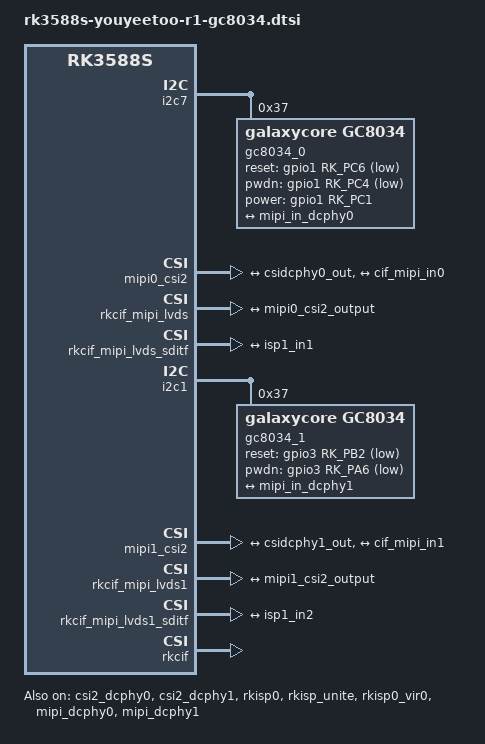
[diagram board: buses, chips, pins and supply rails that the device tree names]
#define CAM0  1
#define CAM1  1
#if CAM0
&i2c7 {
        status = "okay";
        pinctrl-names = "default";
        pinctrl-0 = <&i2c7m0_xfer>;

        gc8034_0: gc8034@37 {
                status = "okay";
        compatible = "galaxycore,gc8034";
        reg = <0x37>;
        clocks = <&cru CLK_MIPI_CAMARAOUT_M3>;
        clock-names = "xvclk";
        power-domains = <&power RK3588_PD_VI>;
        pinctrl-names = "default";
        pinctrl-0 = <&mipim0_camera3_clk &camera_ctl>;
        //avdd-supply = <&vcc_camera0>;
        rockchip,grf = <&sys_grf>;
        reset-gpios = <&gpio1 RK_PC6 GPIO_ACTIVE_LOW>;
        pwdn-gpios = <&gpio1 RK_PC4 GPIO_ACTIVE_LOW>;
        power-gpios = <&gpio1 RK_PC1 GPIO_ACTIVE_HIGH>;

        rockchip,camera-module-index = <0>;
        rockchip,camera-module-facing = "front";
        rockchip,camera-module-name = "RK-CMK-8M-2-v1";
        rockchip,camera-module-lens-name = "CK8401";
        //lens-focus = <&dw9714_0>;
        port {
            gc8034_0_out: endpoint {
                remote-endpoint = <&mipi_in_dcphy0>;
                data-lanes = <1 2 3 4>;
            };
        };
    };
};



&csi2_dcphy0 {
        status = "okay";

        ports {
                #address-cells = <1>;
                #size-cells = <0>;
                port@0 {
                        reg = <0>;
                        #address-cells = <1>;
                        #size-cells = <0>;

                        mipi_in_dcphy0: endpoint@1 {
                                reg = <1>;
                                remote-endpoint = <&gc8034_0_out>;
                                data-lanes = <1 2 3 4>;
                        };
                };
                port@1 {
                        reg = <1>;
                        #address-cells = <1>;
                        #size-cells = <0>;

                        csidcphy0_out: endpoint@0 {
                                reg = <0>;
                                remote-endpoint = <&mipi0_csi2_input>;
                        };
                };
        };
};

&mipi0_csi2 {
        status = "okay";

        ports {
                #address-cells = <1>;
                #size-cells = <0>;

                port@0 {
                        reg = <0>;
                        #address-cells = <1>;
                        #size-cells = <0>;

                        mipi0_csi2_input: endpoint@1 {
                                reg = <1>;
                                remote-endpoint = <&csidcphy0_out>;
                        };
                };

                port@1 {
                        reg = <1>;
                        #address-cells = <1>;
                        #size-cells = <0>;

                        mipi0_csi2_output: endpoint@0 {
                                reg = <0>;
                                remote-endpoint = <&cif_mipi_in0>;
                        };
                };
        };
};


&rkcif_mipi_lvds {
        status = "okay";

        port {
                cif_mipi_in0: endpoint {
                        remote-endpoint = <&mipi0_csi2_output>;
                };
        };
};

&rkcif_mipi_lvds_sditf {
        status = "okay";

        port {
                mipi_lvds_sditf: endpoint {
                        remote-endpoint = <&isp1_in1>;
                };
        };
};

#endif

#if CAM1
&i2c1 {
        status = "okay";
        pinctrl-names = "default";
        pinctrl-0 = <&i2c1m4_xfer>;

        gc8034_1: gc8034@37 {
                status = "okay";
        compatible = "galaxycore,gc8034";
        reg = <0x37>;
        clocks = <&cru CLK_MIPI_CAMARAOUT_M4>;
        clock-names = "xvclk";
        power-domains = <&power RK3588_PD_VI>;
        pinctrl-names = "default";
        pinctrl-0 = <&mipim0_camera4_clk>;
        //avdd-supply = <&vcc_camera1>;
        rockchip,grf = <&sys_grf>;
        reset-gpios = <&gpio3 RK_PB2 GPIO_ACTIVE_LOW>;
        pwdn-gpios = <&gpio3 RK_PA6 GPIO_ACTIVE_LOW>;
        rockchip,camera-module-index = <0>;
        rockchip,camera-module-facing = "back";
        rockchip,camera-module-name = "RK-CMK-8M-2-v1";
        rockchip,camera-module-lens-name = "CK8401";
        //lens-focus = <&dw9714_1>;
        port {
            gc8034_1_out: endpoint {
                remote-endpoint = <&mipi_in_dcphy1>;
                data-lanes = <1 2 3 4>;
            };
        };
    };
};



&csi2_dcphy1 {
        status = "okay";

        ports {
                #address-cells = <1>;
                #size-cells = <0>;
                port@0 {
                        reg = <0>;
                        #address-cells = <1>;
                        #size-cells = <0>;

                        mipi_in_dcphy1: endpoint@1 {
                                reg = <1>;
                                remote-endpoint = <&gc8034_1_out>;
                                data-lanes = <1 2 3 4>;
                        };
                };
                port@1 {
                        reg = <1>;
                        #address-cells = <1>;
                        #size-cells = <0>;

                        csidcphy1_out: endpoint@0 {
                                reg = <0>;
                                remote-endpoint = <&mipi1_csi2_input>;
                        };
                };
        };
};


&mipi1_csi2 {
        status = "okay";

        ports {
                #address-cells = <1>;
                #size-cells = <0>;

                port@0 {
                        reg = <0>;
                        #address-cells = <1>;
                        #size-cells = <0>;

                        mipi1_csi2_input: endpoint@1 {
                                reg = <1>;
                                remote-endpoint = <&csidcphy1_out>;
                        };
                };

                port@1 {
                        reg = <1>;
                        #address-cells = <1>;
                        #size-cells = <0>;

                        mipi1_csi2_output: endpoint@0 {
                                reg = <0>;
                                remote-endpoint = <&cif_mipi_in1>;
                        };
                };
        };
};

&rkcif_mipi_lvds1 {
        status = "okay";

        port {
                cif_mipi_in1: endpoint {
                        remote-endpoint = <&mipi1_csi2_output>;
                };
        };
};

&rkcif_mipi_lvds1_sditf {
        status = "okay";

        port {
                mipi1_lvds_sditf: endpoint {
                        remote-endpoint = <&isp1_in2>;
                };
        };
};




#endif




&rkcif {
        status = "okay";
};


&rkcif_mmu {
        status = "okay";
};

&rkisp0 {
 status = "okay";
};


&isp0_mmu {
 status = "okay";
};


&rkisp_unite {
        status = "okay";

};

&rkisp_unite_mmu {
        status = "okay";
};

&rkisp0_vir0 {
        status = "okay";
        /*
         * dual isp process image case
         * other rkisp hw and virtual nodes should disabled
         */
        rockchip,hw = <&rkisp_unite>;
        port {
                #address-cells = <1>;
                #size-cells = <0>;
#if CAM0
                isp1_in1: endpoint@0 {
                        reg = <0>;
                        remote-endpoint = <&mipi_lvds_sditf>;
                };
#endif
#if CAM1
                isp1_in2: endpoint@1 {
                        reg = <1>;
                        remote-endpoint = <&mipi1_lvds_sditf>;
                };
#endif
        };
};

&mipi_dcphy0 {
        status = "okay";
};
&mipi_dcphy1 {
        status = "okay";
};


/*
&rkisp1 {
 status = "okay";
};

&isp1_mmu {
 status = "okay";
};

*/

&pinctrl {
        camera {
                camera_ctl: camera-ctl {
                        rockchip,pins = <1 RK_PC1 RK_FUNC_GPIO &pcfg_pull_none>,
                                        <1 RK_PC4 RK_FUNC_GPIO &pcfg_pull_none>,
                                        <1 RK_PC6 RK_FUNC_GPIO &pcfg_pull_none>;
                };
        };
};
